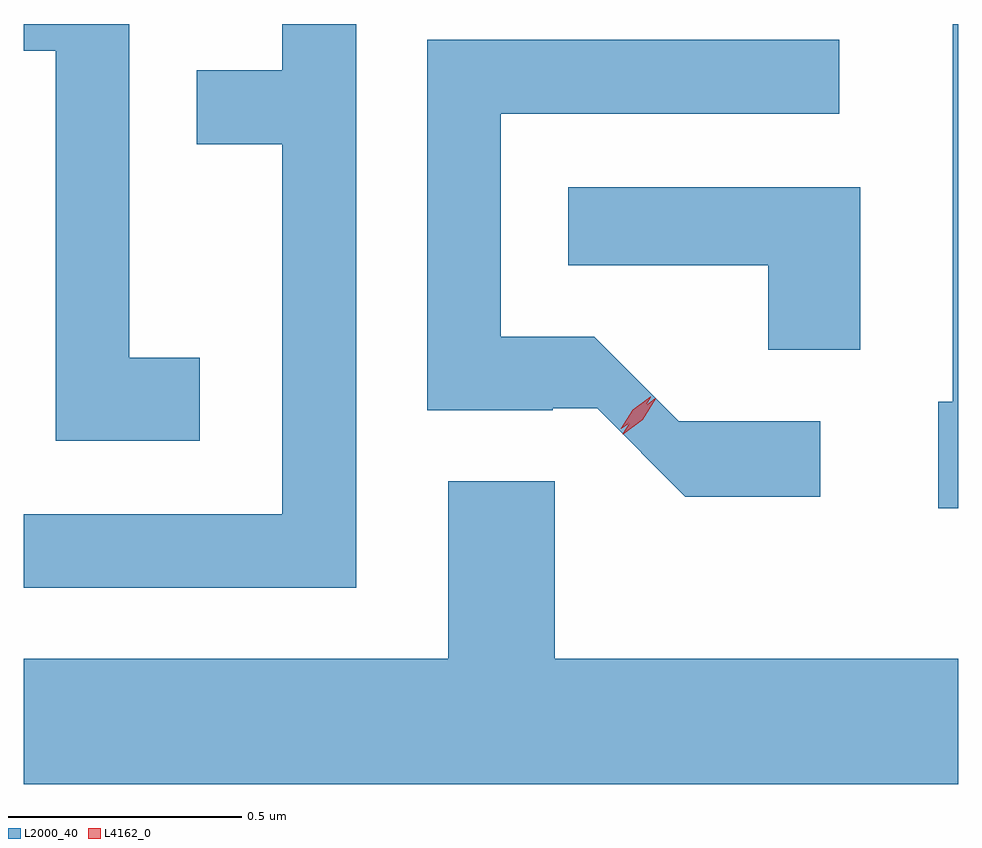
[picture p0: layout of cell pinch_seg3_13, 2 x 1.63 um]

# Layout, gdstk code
import gdstk
lib = gdstk.Library(unit=1e-6, precision=1e-09)
def P(c, l, *ps):  # polygons
    for p in ps: c.add(gdstk.Polygon(p, *l))
L2000_40 = (2000, 40)
L4162_0 = (4162, 0)

pinch_seg3_13 = lib.new_cell('pinch_seg3_13')
P(pinch_seg3_13, L2000_40, [(851.219,1118.049),(851.069,1118.049),(851.069,1118.763),(850.843,1118.763),(850.843,1118.706),(850.911,1118.706),(850.911,1117.871),(851.219,1117.871)],
  [(851.554,1118.763),(851.396,1118.763),(851.396,1118.664),(851.213,1118.664),(851.213,1118.506),(851.396,1118.506),(851.396,1117.714),(850.843,1117.714),(850.843,1117.556),(851.554,1117.556)],
  [(852.843,1118.763),(852.831,1118.763),(852.831,1117.954),(852.801,1117.954),(852.801,1117.726),(852.843,1117.726)],
  [(852.548,1117.913),(852.245,1117.913),(852.064,1118.094),(851.864,1118.094),(851.864,1118.571),(852.588,1118.571),(852.588,1118.729),(851.706,1118.729),(851.706,1117.936),(851.975,1117.936),(851.975,1117.94),(852.07,1117.94),(852.259,1117.751),(852.548,1117.751)],
  [(852.634,1118.414),(852.008,1118.414),(852.008,1118.246),(852.436,1118.246),(852.436,1118.066),(852.634,1118.066)],
  [(852.843,1117.404),(851.979,1117.404),(851.979,1117.784),(851.751,1117.784),(851.751,1117.404),(850.843,1117.404),(850.843,1117.136),(852.843,1117.136)])
P(pinch_seg3_13, L4162_0, [(852.125,1117.885),(852.125,1117.886),(852.153,1117.93),(852.195,1117.962),(852.196,1117.962),(852.196,1117.961),(852.168,1117.916),(852.126,1117.885)],
  [(852.121,1117.896),(852.121,1117.896),(852.146,1117.937),(852.184,1117.965),(852.185,1117.965),(852.185,1117.964),(852.16,1117.923),(852.122,1117.896)])

lib.write_gds('pinch_seg3_13.gds')
